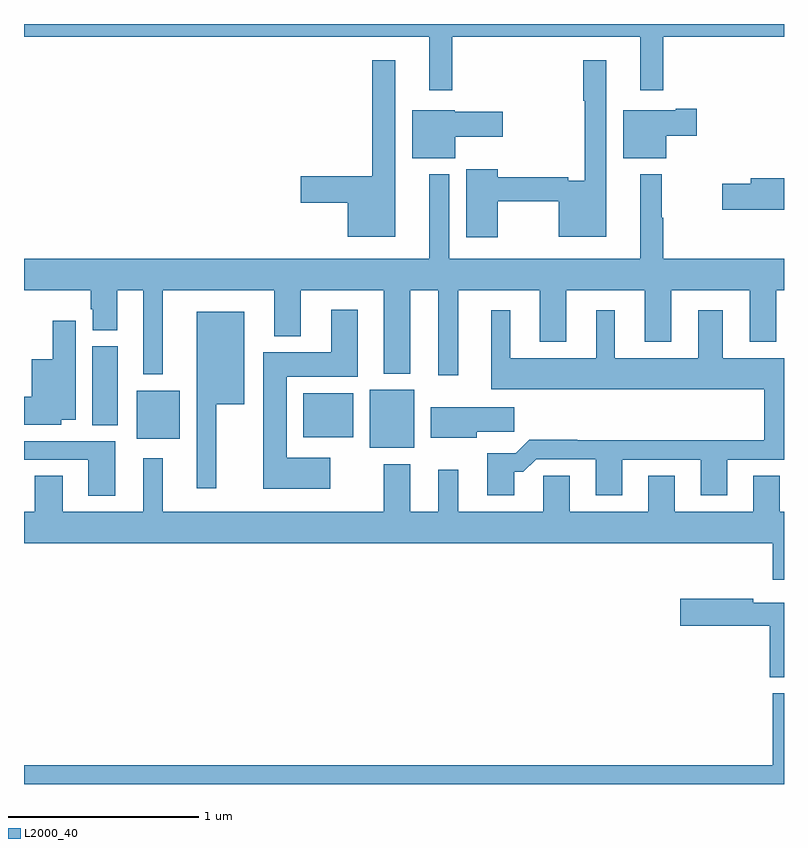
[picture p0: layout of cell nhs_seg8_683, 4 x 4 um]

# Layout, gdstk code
import gdstk
lib = gdstk.Library(unit=1e-6, precision=1e-09)
def R(c, l, rs):  # rectangles x0, y0, x1, y1
    for r in rs: c.add(gdstk.rectangle(r[:2], r[2:], *l))
def P(c, l, *ps):  # polygons
    for p in ps: c.add(gdstk.Polygon(p, *l))
L2000_40 = (2000, 40)

nhs_seg8_683 = lib.new_cell('nhs_seg8_683')
R(nhs_seg8_683, L2000_40, [(156.821,1115.669,157.054,1115.974), (155.594,1115.717,155.821,1115.971), (156.47,1115.726,156.733,1115.956), (155.36,1115.788,155.494,1116.204)])
P(nhs_seg8_683, L2000_40, [(157.255,1117.832),(158.243,1117.832),(158.243,1117.551),(158.365,1117.551),(158.365,1117.832),(159,1117.832),(159,1117.9),(155,1117.9),(155,1117.832),(157.133,1117.832),(157.133,1117.551),(157.255,1117.551)],
  [(156.955,1117.708),(156.834,1117.708),(156.834,1117.1),(156.456,1117.1),(156.456,1116.958),(156.704,1116.958),(156.704,1116.779),(156.955,1116.779)],
  [(157.494,1116.966),(157.814,1116.966),(157.814,1116.779),(158.065,1116.779),(158.065,1117.708),(157.944,1117.708),(157.944,1117.495),(157.951,1117.495),(157.951,1117.074),(157.865,1117.074),(157.865,1117.094),(157.494,1117.094),(157.494,1117.136),(157.328,1117.136),(157.328,1116.777),(157.494,1116.777)],
  [(158.38,1117.313),(158.542,1117.313),(158.542,1117.455),(158.429,1117.455),(158.429,1117.447),(158.153,1117.447),(158.153,1117.193),(158.38,1117.193)],
  [(157.27,1117.307),(157.519,1117.307),(157.519,1117.437),(157.266,1117.437),(157.266,1117.447),(157.043,1117.447),(157.043,1117.193),(157.27,1117.193)],
  [(157.285,1116.5),(157.715,1116.5),(157.715,1116.227),(157.855,1116.227),(157.855,1116.5),(158.267,1116.5),(158.267,1116.227),(158.407,1116.227),(158.407,1116.5),(158.819,1116.5),(158.819,1116.227),(158.959,1116.227),(158.959,1116.5),(159,1116.5),(159,1116.664),(158.365,1116.664),(158.365,1116.881),(158.357,1116.881),(158.357,1117.108),(158.243,1117.108),(158.243,1116.664),(157.237,1116.664),(157.237,1117.108),(157.133,1117.108),(157.133,1116.664),(155,1116.664),(155,1116.5),(155.351,1116.5),(155.351,1116.399),(155.363,1116.399),(155.363,1116.289),(155.491,1116.289),(155.491,1116.5),(155.627,1116.5),(155.627,1116.056),(155.731,1116.056),(155.731,1116.5),(156.317,1116.5),(156.317,1116.257),(156.457,1116.257),(156.457,1116.5),(156.893,1116.5),(156.893,1116.059),(157.033,1116.059),(157.033,1116.5),(157.181,1116.5),(157.181,1116.051),(157.285,1116.051)],
  [(159,1117.088),(158.825,1117.088),(158.825,1117.058),(158.676,1117.058),(158.676,1116.923),(159,1116.923)],
  [(156.613,1115.617),(156.382,1115.617),(156.382,1116.044),(156.757,1116.044),(156.757,1116.397),(156.617,1116.397),(156.617,1116.172),(156.26,1116.172),(156.26,1115.453),(156.613,1115.453)],
  [(157.579,1115.543),(157.628,1115.543),(157.695,1115.61),(158.009,1115.61),(158.009,1115.421),(158.149,1115.421),(158.149,1115.607),(158.561,1115.607),(158.561,1115.421),(158.701,1115.421),(158.701,1115.607),(159,1115.607),(159,1116.142),(158.677,1116.142),(158.677,1116.394),(158.549,1116.394),(158.549,1116.142),(158.11,1116.142),(158.11,1116.394),(158.012,1116.394),(158.012,1116.142),(157.558,1116.142),(157.558,1116.394),(157.46,1116.394),(157.46,1115.978),(158.897,1115.978),(158.897,1115.708),(157.913,1115.708),(157.913,1115.711),(157.658,1115.711),(157.588,1115.641),(157.439,1115.641),(157.439,1115.421),(157.579,1115.421)],
  [(156.013,1115.9),(156.16,1115.9),(156.16,1116.385),(155.909,1116.385),(155.909,1115.457),(156.013,1115.457)],
  [(155.196,1115.816),(155.272,1115.816),(155.272,1116.337),(155.15,1116.337),(155.15,1116.136),(155.042,1116.136),(155.042,1115.938),(155,1115.938),(155,1115.792),(155.196,1115.792)],
  [(157.384,1115.755),(157.579,1115.755),(157.579,1115.884),(157.14,1115.884),(157.14,1115.723),(157.384,1115.723)],
  [(155.479,1115.703),(155,1115.703),(155,1115.607),(155.339,1115.607),(155.339,1115.418),(155.479,1115.418)],
  [(158.285,1115.522),(158.285,1115.332),(157.873,1115.332),(157.873,1115.522),(157.734,1115.522),(157.734,1115.332),(157.285,1115.332),(157.285,1115.554),(157.181,1115.554),(157.181,1115.332),(157.033,1115.332),(157.033,1115.584),(156.893,1115.584),(156.893,1115.332),(155.731,1115.332),(155.731,1115.614),(155.627,1115.614),(155.627,1115.332),(155.203,1115.332),(155.203,1115.522),(155.056,1115.522),(155.056,1115.332),(155,1115.332),(155,1115.168),(158.942,1115.168),(158.942,1114.974),(159,1114.974),(159,1115.332),(158.977,1115.332),(158.977,1115.522),(158.837,1115.522),(158.837,1115.332),(158.425,1115.332),(158.425,1115.522)],
  [(159,1114.855),(158.838,1114.855),(158.838,1114.875),(158.454,1114.875),(158.454,1114.733),(158.924,1114.733),(158.924,1114.463),(159,1114.463)],
  [(159,1114.378),(158.942,1114.378),(158.942,1114),(155,1114),(155,1113.9),(159,1113.9)])

lib.write_gds('nhs_seg8_683.gds')
